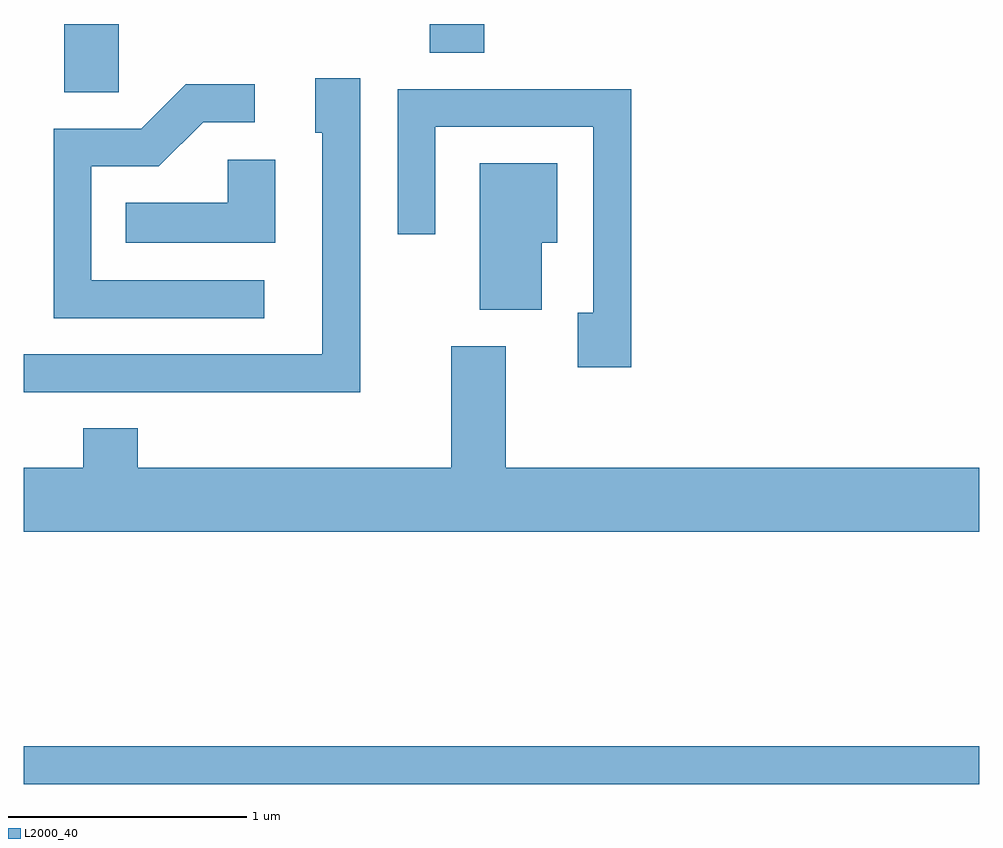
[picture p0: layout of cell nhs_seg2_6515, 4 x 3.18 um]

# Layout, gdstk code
import gdstk
lib = gdstk.Library(unit=1e-6, precision=1e-09)
def R(c, l, rs):  # rectangles x0, y0, x1, y1
    for r in rs: c.add(gdstk.rectangle(r[:2], r[2:], *l))
def P(c, l, *ps):  # polygons
    for p in ps: c.add(gdstk.Polygon(p, *l))
L2000_40 = (2000, 40)

nhs_seg2_6515 = lib.new_cell('nhs_seg2_6515')
R(nhs_seg2_6515, L2000_40, [(377.611,1020.621,381.611,1020.779), (377.781,1023.516,378.009,1023.802), (379.311,1023.681,379.539,1023.802)])
P(nhs_seg2_6515, L2000_40, [(379.019,1023.574),(378.831,1023.574),(378.831,1023.346),(378.861,1023.346),(378.861,1022.419),(377.611,1022.419),(377.611,1022.261),(379.019,1022.261)],
  [(378.618,1022.729),(377.894,1022.729),(377.894,1023.206),(378.177,1023.206),(378.362,1023.391),(378.578,1023.391),(378.578,1023.549),(378.289,1023.549),(378.104,1023.364),(377.736,1023.364),(377.736,1022.571),(378.618,1022.571)],
  [(380.154,1023.529),(379.176,1023.529),(379.176,1022.923),(379.334,1022.923),(379.334,1023.371),(379.996,1023.371),(379.996,1022.594),(379.931,1022.594),(379.931,1022.366),(380.154,1022.366)],
  [(378.664,1023.234),(378.466,1023.234),(378.466,1023.054),(378.038,1023.054),(378.038,1022.886),(378.664,1022.886)],
  [(379.779,1022.886),(379.844,1022.886),(379.844,1023.219),(379.521,1023.219),(379.521,1022.606),(379.779,1022.606)],
  [(381.611,1021.944),(379.629,1021.944),(379.629,1022.454),(379.401,1022.454),(379.401,1021.944),(378.089,1021.944),(378.089,1022.109),(377.861,1022.109),(377.861,1021.944),(377.611,1021.944),(377.611,1021.676),(381.611,1021.676)])

lib.write_gds('nhs_seg2_6515.gds')
